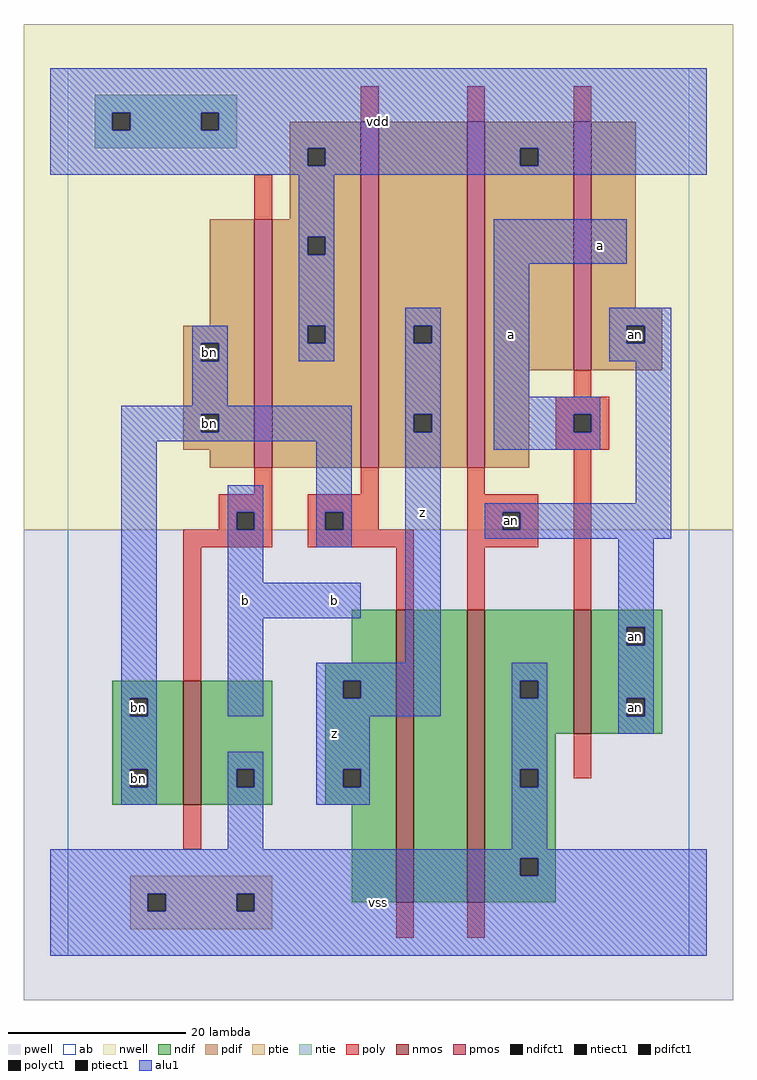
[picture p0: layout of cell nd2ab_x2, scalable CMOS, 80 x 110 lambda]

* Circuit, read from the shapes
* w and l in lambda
.subckt nd2ab_x2 a an b bn vdd vss z
M1 vss b bn vss nfet w=14 l=2
M2 n1 bn z vss nfet w=33 l=2
M3 vss an n1 vss nfet w=33 l=2
M4 an a vss vss nfet w=14 l=2
M5 vdd b bn vdd pfet w=28 l=2
M6 z bn vdd vdd pfet w=39 l=2
M7 vdd an z vdd pfet w=39 l=2
M8 an a vdd vdd pfet w=28 l=2
.ends

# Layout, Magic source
magic
tech scmos
<< ab >>
rect 0 0 70 100
<< nwell >>
rect -5 48 75 105
<< pwell >>
rect -5 -5 75 48
<< poly >>
rect 33 94 35 98
rect 45 94 47 98
rect 57 94 59 98
rect 21 83 23 88
rect 57 63 59 66
rect 55 61 61 63
rect 55 59 57 61
rect 59 59 61 61
rect 55 57 61 59
rect 21 52 23 55
rect 33 52 35 55
rect 17 50 23 52
rect 17 48 19 50
rect 21 48 23 50
rect 13 46 23 48
rect 27 50 35 52
rect 27 48 29 50
rect 31 48 35 50
rect 45 52 47 55
rect 45 50 53 52
rect 45 48 49 50
rect 51 48 53 50
rect 27 46 39 48
rect 13 31 15 46
rect 37 39 39 46
rect 45 46 53 48
rect 45 39 47 46
rect 57 39 59 57
rect 13 12 15 17
rect 57 20 59 25
rect 37 2 39 6
rect 45 2 47 6
<< ndif >>
rect 32 33 37 39
rect 29 31 37 33
rect 5 29 13 31
rect 5 27 7 29
rect 9 27 13 29
rect 5 21 13 27
rect 5 19 7 21
rect 9 19 13 21
rect 5 17 13 19
rect 15 21 23 31
rect 15 19 19 21
rect 21 19 23 21
rect 15 17 23 19
rect 29 29 31 31
rect 33 29 37 31
rect 29 21 37 29
rect 29 19 31 21
rect 33 19 37 21
rect 29 17 37 19
rect 32 6 37 17
rect 39 6 45 39
rect 47 31 57 39
rect 47 29 51 31
rect 53 29 57 31
rect 47 25 57 29
rect 59 37 67 39
rect 59 35 63 37
rect 65 35 67 37
rect 59 29 67 35
rect 59 27 63 29
rect 65 27 67 29
rect 59 25 67 27
rect 47 21 55 25
rect 47 19 51 21
rect 53 19 55 21
rect 47 11 55 19
rect 47 9 51 11
rect 53 9 55 11
rect 47 6 55 9
<< pdif >>
rect 25 91 33 94
rect 25 89 27 91
rect 29 89 33 91
rect 25 83 33 89
rect 16 71 21 83
rect 13 69 21 71
rect 13 67 15 69
rect 17 67 21 69
rect 13 61 21 67
rect 13 59 15 61
rect 17 59 21 61
rect 13 57 21 59
rect 16 55 21 57
rect 23 81 33 83
rect 23 79 27 81
rect 29 79 33 81
rect 23 71 33 79
rect 23 69 27 71
rect 29 69 33 71
rect 23 55 33 69
rect 35 71 45 94
rect 35 69 39 71
rect 41 69 45 71
rect 35 61 45 69
rect 35 59 39 61
rect 41 59 45 61
rect 35 55 45 59
rect 47 91 57 94
rect 47 89 51 91
rect 53 89 57 91
rect 47 66 57 89
rect 59 73 64 94
rect 59 71 67 73
rect 59 69 63 71
rect 65 69 67 71
rect 59 66 67 69
rect 47 55 52 66
<< alu1 >>
rect -2 95 72 100
rect -2 93 5 95
rect 7 93 15 95
rect 17 93 72 95
rect -2 91 72 93
rect -2 89 27 91
rect 29 89 51 91
rect 53 89 72 91
rect -2 88 72 89
rect 26 81 30 88
rect 26 79 27 81
rect 29 79 30 81
rect 26 71 30 79
rect 48 78 63 83
rect 14 69 18 71
rect 14 67 15 69
rect 17 67 18 69
rect 26 69 27 71
rect 29 69 30 71
rect 26 67 30 69
rect 38 71 42 73
rect 38 69 39 71
rect 41 69 42 71
rect 14 62 18 67
rect 6 61 32 62
rect 6 59 15 61
rect 17 59 32 61
rect 6 58 32 59
rect 6 29 10 58
rect 6 27 7 29
rect 9 27 10 29
rect 18 50 22 53
rect 18 48 19 50
rect 21 48 22 50
rect 18 42 22 48
rect 28 50 32 58
rect 28 48 29 50
rect 31 48 32 50
rect 28 46 32 48
rect 38 61 42 69
rect 38 59 39 61
rect 41 59 42 61
rect 18 38 33 42
rect 18 27 22 38
rect 38 33 42 59
rect 48 63 52 78
rect 61 71 68 73
rect 61 69 63 71
rect 65 69 68 71
rect 61 67 68 69
rect 48 61 60 63
rect 48 59 57 61
rect 59 59 60 61
rect 48 57 60 59
rect 64 51 68 67
rect 47 50 68 51
rect 47 48 49 50
rect 51 48 68 50
rect 47 47 68 48
rect 62 37 66 47
rect 62 35 63 37
rect 65 35 66 37
rect 28 31 42 33
rect 28 29 31 31
rect 33 29 42 31
rect 28 27 42 29
rect 50 31 54 33
rect 50 29 51 31
rect 53 29 54 31
rect 6 21 10 27
rect 6 19 7 21
rect 9 19 10 21
rect 6 17 10 19
rect 18 21 22 23
rect 18 19 19 21
rect 21 19 22 21
rect 18 12 22 19
rect 28 21 34 27
rect 28 19 31 21
rect 33 19 34 21
rect 28 17 34 19
rect 50 21 54 29
rect 62 29 66 35
rect 62 27 63 29
rect 65 27 66 29
rect 62 25 66 27
rect 50 19 51 21
rect 53 19 54 21
rect 50 12 54 19
rect -2 11 72 12
rect -2 9 51 11
rect 53 9 72 11
rect -2 7 72 9
rect -2 5 9 7
rect 11 5 19 7
rect 21 5 72 7
rect -2 0 72 5
<< ptie >>
rect 7 7 23 9
rect 7 5 9 7
rect 11 5 19 7
rect 21 5 23 7
rect 7 3 23 5
<< ntie >>
rect 3 95 19 97
rect 3 93 5 95
rect 7 93 15 95
rect 17 93 19 95
rect 3 91 19 93
<< nmos >>
rect 13 17 15 31
rect 37 6 39 39
rect 45 6 47 39
rect 57 25 59 39
<< pmos >>
rect 21 55 23 83
rect 33 55 35 94
rect 45 55 47 94
rect 57 66 59 94
<< polyct1 >>
rect 57 59 59 61
rect 19 48 21 50
rect 29 48 31 50
rect 49 48 51 50
<< ndifct1 >>
rect 7 27 9 29
rect 7 19 9 21
rect 19 19 21 21
rect 31 29 33 31
rect 31 19 33 21
rect 51 29 53 31
rect 63 35 65 37
rect 63 27 65 29
rect 51 19 53 21
rect 51 9 53 11
<< ntiect1 >>
rect 5 93 7 95
rect 15 93 17 95
<< ptiect1 >>
rect 9 5 11 7
rect 19 5 21 7
<< pdifct1 >>
rect 27 89 29 91
rect 15 67 17 69
rect 15 59 17 61
rect 27 79 29 81
rect 27 69 29 71
rect 39 69 41 71
rect 39 59 41 61
rect 51 89 53 91
rect 63 69 65 71
<< labels >>
rlabel ndifct1 8 20 8 20 6 bn
rlabel ndifct1 8 28 8 28 6 bn
rlabel pdifct1 16 68 16 68 6 bn
rlabel pdifct1 16 60 16 60 6 bn
rlabel ndifct1 64 28 64 28 6 an
rlabel ndifct1 64 36 64 36 6 an
rlabel polyct1 50 49 50 49 6 an
rlabel pdifct1 64 70 64 70 6 an
rlabel alu1 30 25 30 25 6 z
rlabel alu1 20 40 20 40 6 b
rlabel alu1 30 40 30 40 6 b
rlabel alu1 35 6 35 6 6 vss
rlabel alu1 40 50 40 50 6 z
rlabel alu1 50 70 50 70 6 a
rlabel alu1 35 94 35 94 6 vdd
rlabel alu1 60 80 60 80 6 a
<< end >>
